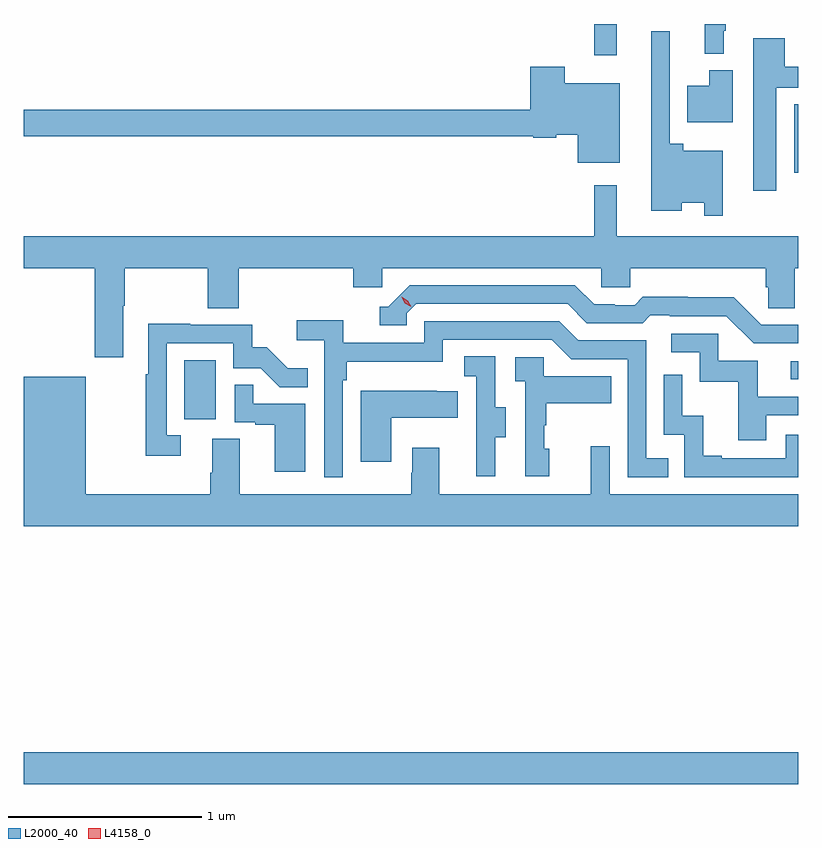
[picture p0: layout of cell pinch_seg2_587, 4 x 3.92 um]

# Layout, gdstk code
import gdstk
lib = gdstk.Library(unit=1e-6, precision=1e-09)
def R(c, l, rs):  # rectangles x0, y0, x1, y1
    for r in rs: c.add(gdstk.rectangle(r[:2], r[2:], *l))
def P(c, l, *ps):  # polygons
    for p in ps: c.add(gdstk.Polygon(p, *l))
L2000_40 = (2000, 40)
L4158_0 = (4158, 0)

pinch_seg2_587 = lib.new_cell('pinch_seg2_587')
R(pinch_seg2_587, L2000_40, [(1054.268,602.348,1058.268,602.512), (1055.096,604.23,1055.26,604.537), (1058.229,604.437,1058.268,604.53), (1058.246,605.505,1058.268,605.858), (1057.213,606.111,1057.331,606.272)])
P(pinch_seg2_587, L2000_40, [(1057.882,606.237),(1057.894,606.237),(1057.894,606.272),(1057.784,606.272),(1057.784,606.119),(1057.882,606.119)],
  [(1057.878,605.617),(1057.674,605.617),(1057.674,605.653),(1057.605,605.653),(1057.605,606.235),(1057.508,606.235),(1057.508,605.309),(1057.666,605.309),(1057.666,605.348),(1057.782,605.348),(1057.782,605.283),(1057.878,605.283)],
  [(1058.155,605.943),(1058.268,605.943),(1058.268,606.052),(1058.197,606.052),(1058.197,606.199),(1058.036,606.199),(1058.036,605.412),(1058.155,605.412)],
  [(1057.345,605.965),(1057.062,605.965),(1057.062,606.052),(1056.884,606.052),(1056.884,605.828),(1054.268,605.828),(1054.268,605.692),(1056.9,605.692),(1056.9,605.684),(1057.017,605.684),(1057.017,605.699),(1057.13,605.699),(1057.13,605.555),(1057.345,605.555)],
  [(1057.93,606.034),(1057.808,606.034),(1057.808,605.953),(1057.694,605.953),(1057.694,605.765),(1057.93,605.765)],
  [(1054.783,604.816),(1054.791,604.816),(1054.791,605.012),(1055.218,605.012),(1055.218,604.804),(1055.378,604.804),(1055.378,605.012),(1055.969,605.012),(1055.969,604.914),(1056.12,604.914),(1056.12,605.012),(1057.251,605.012),(1057.251,604.914),(1057.401,604.914),(1057.401,605.012),(1058.099,605.012),(1058.099,604.914),(1058.113,604.914),(1058.113,604.804),(1058.25,604.804),(1058.25,605.012),(1058.268,605.012),(1058.268,605.176),(1057.33,605.176),(1057.33,605.44),(1057.213,605.44),(1057.213,605.176),(1054.268,605.176),(1054.268,605.012),(1054.636,605.012),(1054.636,604.551),(1054.783,604.551)],
  [(1058.268,604.719),(1058.076,604.719),(1057.934,604.861),(1057.698,604.861),(1057.698,604.864),(1057.465,604.864),(1057.423,604.821),(1057.32,604.821),(1057.32,604.824),(1057.213,604.824),(1057.114,604.923),(1056.261,604.923),(1056.15,604.812),(1056.107,604.812),(1056.107,604.716),(1056.246,604.716),(1056.246,604.779),(1056.294,604.827),(1057.077,604.827),(1057.176,604.728),(1057.465,604.728),(1057.504,604.767),(1057.603,604.767),(1057.603,604.764),(1057.896,604.764),(1058.037,604.623),(1058.268,604.623)],
  [(1055.916,604.433),(1055.936,604.433),(1055.936,604.529),(1056.432,604.529),(1056.432,604.641),(1056.996,604.641),(1057.095,604.542),(1057.386,604.542),(1057.386,603.933),(1057.595,603.933),(1057.595,604.029),(1057.482,604.029),(1057.482,604.638),(1057.132,604.638),(1057.033,604.737),(1056.336,604.737),(1056.336,604.626),(1055.918,604.626),(1055.918,604.742),(1055.679,604.742),(1055.679,604.64),(1055.82,604.64),(1055.82,603.933),(1055.916,603.933)],
  [(1055.08,604.149),(1055.007,604.149),(1055.007,604.623),(1055.349,604.623),(1055.349,604.494),(1055.493,604.494),(1055.591,604.396),(1055.735,604.396),(1055.735,604.495),(1055.631,604.495),(1055.524,604.602),(1055.448,604.602),(1055.448,604.719),(1055.129,604.719),(1055.129,604.724),(1054.911,604.724),(1054.911,604.463),(1054.899,604.463),(1054.899,604.044),(1055.08,604.044)],
  [(1058.101,604.251),(1058.268,604.251),(1058.268,604.347),(1058.059,604.347),(1058.059,604.533),(1057.854,604.533),(1057.854,604.674),(1057.611,604.674),(1057.611,604.578),(1057.758,604.578),(1057.758,604.425),(1057.957,604.425),(1057.957,604.122),(1058.101,604.122)],
  [(1056.703,604.138),(1056.757,604.138),(1056.757,604.293),(1056.702,604.293),(1056.702,604.556),(1056.543,604.556),(1056.543,604.453),(1056.606,604.453),(1056.606,604.149),(1056.605,604.149),(1056.605,603.936),(1056.703,603.936)],
  [(1056.982,604.08),(1056.957,604.08),(1056.957,604.199),(1056.967,604.199),(1056.967,604.313),(1057.301,604.313),(1057.301,604.453),(1056.954,604.453),(1056.954,604.551),(1056.807,604.551),(1056.807,604.427),(1056.858,604.427),(1056.858,603.936),(1056.982,603.936)],
  [(1058.268,604.152),(1058.202,604.152),(1058.202,604.029),(1057.873,604.029),(1057.873,604.042),(1057.778,604.042),(1057.778,604.25),(1057.668,604.25),(1057.668,604.462),(1057.572,604.462),(1057.572,604.152),(1057.68,604.152),(1057.68,603.933),(1058.268,603.933)],
  [(1058.268,603.844),(1057.293,603.844),(1057.293,604.093),(1057.196,604.093),(1057.196,603.844),(1056.415,603.844),(1056.415,604.084),(1056.275,604.084),(1056.275,603.956),(1056.268,603.956),(1056.268,603.844),(1055.383,603.844),(1055.383,604.13),(1055.243,604.13),(1055.243,603.956),(1055.231,603.956),(1055.231,603.844),(1054.588,603.844),(1054.588,604.45),(1054.268,604.45),(1054.268,603.68),(1058.268,603.68)],
  [(1055.722,604.311),(1055.453,604.311),(1055.453,604.409),(1055.358,604.409),(1055.358,604.215),(1055.465,604.215),(1055.465,604.203),(1055.564,604.203),(1055.564,603.96),(1055.722,603.96)],
  [(1056.166,604.238),(1056.509,604.238),(1056.509,604.375),(1056.401,604.375),(1056.401,604.378),(1056.008,604.378),(1056.008,604.011),(1056.166,604.011)])
P(pinch_seg2_587, L4158_0, [(1056.268,604.811),(1056.237,604.831),(1056.221,604.863),(1056.221,604.864),(1056.221,604.864),(1056.252,604.844),(1056.268,604.812),(1056.268,604.811)])

lib.write_gds('pinch_seg2_587.gds')
